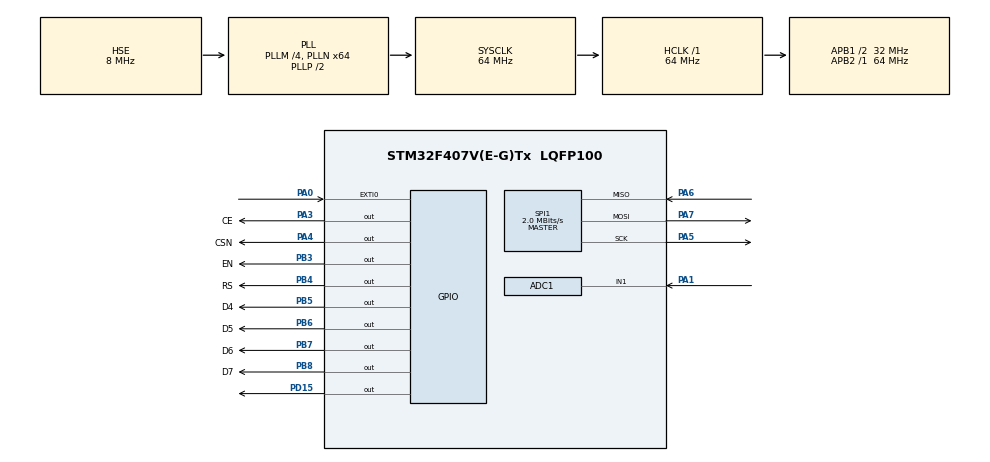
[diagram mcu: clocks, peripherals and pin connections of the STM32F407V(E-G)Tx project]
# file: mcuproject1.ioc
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ADC1.Channel-0\#ChannelRegularConversion=ADC_CHANNEL_1
ADC1.NbrOfConversionFlag=1
ADC1.Rank-0\#ChannelRegularConversion=1
ADC1.Resolution=ADC_RESOLUTION_8B
ADC1.SamplingTime-0\#ChannelRegularConversion=ADC_SAMPLETIME_3CYCLES
ADC1.master=1
Mcu.Family=STM32F4
Mcu.Name=STM32F407V(E-G)Tx
Mcu.Package=LQFP100
NVIC.PriorityGroup=NVIC_PRIORITYGROUP_4
PA0-WKUP.Signal=GPXTI0
PA1.Signal=ADCx_IN1
PA13.Mode=Serial_Wire
PA13.Signal=SYS_JTMS-SWDIO
PA14.Mode=Serial_Wire
PA14.Signal=SYS_JTCK-SWCLK
PA3.GPIO_Label=CE
PA3.Signal=GPIO_Output
PA4.GPIO_Label=CSN
PA4.Signal=GPIO_Output
PA5.Mode=Full_Duplex_Master
PA5.Signal=SPI1_SCK
PA6.Mode=Full_Duplex_Master
PA6.Signal=SPI1_MISO
PA7.Mode=Full_Duplex_Master
PA7.Signal=SPI1_MOSI
PB3.GPIO_Label=EN
PB3.Signal=GPIO_Output
PB4.GPIO_Label=RS
PB4.Signal=GPIO_Output
PB5.GPIO_Label=D4
PB5.Signal=GPIO_Output
PB6.GPIO_Label=D5
PB6.Signal=GPIO_Output
PB7.GPIO_Label=D6
PB7.Signal=GPIO_Output
PB8.GPIO_Label=D7
PB8.Signal=GPIO_Output
PD15.Signal=GPIO_Output
PH0-OSC_IN.Mode=HSE-External-Oscillator
PH0-OSC_IN.Signal=RCC_OSC_IN
PH1-OSC_OUT.Mode=HSE-External-Oscillator
PH1-OSC_OUT.Signal=RCC_OSC_OUT
ProjectManager.HeapSize=0x200
ProjectManager.StackSize=0x400
ProjectManager.TargetToolchain=STM32CubeIDE
RCC.48MHZClocksFreq_Value=32000000
RCC.AHBFreq_Value=64000000
RCC.APB1CLKDivider=RCC_HCLK_DIV2
RCC.APB1Freq_Value=32000000
RCC.APB1TimFreq_Value=64000000
RCC.APB2Freq_Value=64000000
RCC.APB2TimFreq_Value=64000000
RCC.CortexFreq_Value=64000000
RCC.HCLKFreq_Value=64000000
RCC.HSE_VALUE=8000000
RCC.HSI_VALUE=16000000
RCC.LSE_VALUE=32768
RCC.PLLM=4
RCC.PLLN=64
RCC.PLLSourceVirtual=RCC_PLLSOURCE_HSE
RCC.SYSCLKFreq_VALUE=64000000
RCC.SYSCLKSource=RCC_SYSCLKSOURCE_PLLCLK
RCC.VCOOutputFreq_Value=128000000
SH.ADCx_IN1.0=ADC1_IN1,IN1
SPI1.BaudRatePrescaler=SPI_BAUDRATEPRESCALER_32
SPI1.CalculateBaudRate=2.0 MBits/s
SPI1.Direction=SPI_DIRECTION_2LINES
SPI1.Mode=SPI_MODE_MASTER
SPI1.VirtualType=VM_MASTER
board=custom

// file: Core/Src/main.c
/* USER CODE BEGIN Header */
/**
  ******************************************************************************
  * @file           : main.c
  * @brief          : Main program body
  ******************************************************************************
  * @attention
  *
  * Copyright (c) 2023 STMicroelectronics.
  * All rights reserved.
  *
  * This software is licensed under terms that can be found in the LICENSE file
  * in the root directory of this software component.
  * If no LICENSE file comes with this software, it is provided AS-IS.
  *
  ******************************************************************************
  */
/* USER CODE END Header */
#include "main.h"
#include "adc.h"
#include "spi.h"
#include "gpio.h"

/* USER CODE BEGIN Includes */
#include <stdio.h>
#include "LCD16x2.h"
#include "LCD16x2_cfg.h"
#include "nrf24.h"
#include "nrf24_hal.h"
/* USER CODE END Includes */

void SystemClock_Config(void);

/* USER CODE BEGIN 0 */

uint8_t dum = 0, config, reg_status, reg_addr = 0;
char config_lcd[8];// char casting for config register
int ADC_raw_value = 0;
uint8_t ADDR[] = { 'n', 'R', 'F', '2', '4' }; // the TX address
uint8_t payload_length = 1;
/* USER CODE END 0 */

int main(void)
{

  /* MCU Configuration--------------------------------------------------------*/

  /* Reset of all peripherals, Initializes the Flash interface and the Systick. */
  HAL_Init();

  /* Configure the system clock */
  SystemClock_Config();

  /* Initialize all configured peripherals */
  MX_GPIO_Init();
  MX_SPI1_Init();
  MX_ADC1_Init();
  /* USER CODE BEGIN 2 */

  // LCD initialization
  LCD_Init();
  LCD_Clear();
  LCD_Set_Cursor(1, 1);
  LCD_Write_String(" ");

  //Part 1
  HAL_GPIO_WritePin(GPIOA, GPIO_PIN_3, 1);// CE = 1
  HAL_GPIO_WritePin(GPIOA, GPIO_PIN_4, 0);// CSN = 0
  HAL_SPI_Transmit(&hspi1, &reg_addr, 8, 100); // Config address = 00
  HAL_SPI_Receive(&hspi1, &reg_status, 8, 100);
  HAL_SPI_Transmit(&hspi1, &dum, 8, 100); // dummy value
  HAL_SPI_Receive(&hspi1, &config, 8, 100);
  sprintf(config_lcd, "%02X",config); // casting
  LCD_Set_Cursor(2, 1);
  LCD_Write_String(config_lcd);
  HAL_GPIO_WritePin(GPIOA, GPIO_PIN_3, 0);// CE = 0
  HAL_GPIO_WritePin(GPIOA, GPIO_PIN_4, 1);// CSN = 1

  //NRF24l01+ initialization
  nRF24_Init();
  HAL_GPIO_WritePin(GPIOA, GPIO_PIN_3, 1);// CE = 1
  HAL_GPIO_WritePin(GPIOA, GPIO_PIN_4, 0);// CSN = 0

  nRF24_SetRFChannel(90); // set RF channel to 2490MHz
  nRF24_SetDataRate(nRF24_DR_2Mbps); // 2Mbit/s data rate
  nRF24_SetCRCScheme(nRF24_CRC_1byte); // 1-byte CRC scheme
  nRF24_SetAddrWidth(5); // address width is 5 bytes
  nRF24_SetAddr(nRF24_PIPETX, ADDR); // program TX address
  nRF24_SetAddr(nRF24_PIPE0, ADDR); // program pipe#0 RX address, must be same as TX (for ACK packets)
  nRF24_SetTXPower(nRF24_TXPWR_0dBm); // configure TX power
  nRF24_SetAutoRetr(nRF24_ARD_2500us, 10); // configure auto retransmit: 10 retransmissions with pause of 2500s in between
  nRF24_EnableAA(nRF24_PIPE0); // enable Auto-ACK for pipe#0 (for ACK packets)
  nRF24_SetOperationalMode(nRF24_MODE_TX); // switch transceiver to the TX mode
  nRF24_SetPowerMode(nRF24_PWR_UP); // wake-up transceiver (in case if it sleeping)
  // the nRF24 is ready for transmission, upload a payload, then pull CE pin to HIGH and it will transmit a packet...

  /* USER CODE END 2 */

  /* Infinite loop */
  while (1)
  {

    /* USER CODE BEGIN 3 */

	  //ADC
	  HAL_ADC_Start(&hadc1);
	  HAL_ADC_PollForConversion(&hadc1,1000);
	  ADC_raw_value = HAL_ADC_GetValue(&hadc1);

	  //Transmit
	  nRF24_WritePayload(ADC_raw_value, &payload_length);

  }
  /* USER CODE END 3 */
}

void SystemClock_Config(void)
{
  RCC_OscInitTypeDef RCC_OscInitStruct = {0};
  RCC_ClkInitTypeDef RCC_ClkInitStruct = {0};

  /** Configure the main internal regulator output voltage
  */
  __HAL_RCC_PWR_CLK_ENABLE();
  __HAL_PWR_VOLTAGESCALING_CONFIG(PWR_REGULATOR_VOLTAGE_SCALE1);

  /** Initializes the RCC Oscillators according to the specified parameters
  * in the RCC_OscInitTypeDef structure.
  */
  RCC_OscInitStruct.OscillatorType = RCC_OSCILLATORTYPE_HSE;
  RCC_OscInitStruct.HSEState = RCC_HSE_ON;
  RCC_OscInitStruct.PLL.PLLState = RCC_PLL_ON;
  RCC_OscInitStruct.PLL.PLLSource = RCC_PLLSOURCE_HSE;
  RCC_OscInitStruct.PLL.PLLM = 4;
  RCC_OscInitStruct.PLL.PLLN = 64;
  RCC_OscInitStruct.PLL.PLLP = RCC_PLLP_DIV2;
  RCC_OscInitStruct.PLL.PLLQ = 4;
  if (HAL_RCC_OscConfig(&RCC_OscInitStruct) != HAL_OK)
  {
    Error_Handler();
  }

  /** Initializes the CPU, AHB and APB buses clocks
  */
  RCC_ClkInitStruct.ClockType = RCC_CLOCKTYPE_HCLK|RCC_CLOCKTYPE_SYSCLK
                              |RCC_CLOCKTYPE_PCLK1|RCC_CLOCKTYPE_PCLK2;
  RCC_ClkInitStruct.SYSCLKSource = RCC_SYSCLKSOURCE_PLLCLK;
  RCC_ClkInitStruct.AHBCLKDivider = RCC_SYSCLK_DIV1;
  RCC_ClkInitStruct.APB1CLKDivider = RCC_HCLK_DIV2;
  RCC_ClkInitStruct.APB2CLKDivider = RCC_HCLK_DIV1;

  if (HAL_RCC_ClockConfig(&RCC_ClkInitStruct, FLASH_LATENCY_2) != HAL_OK)
  {
    Error_Handler();
  }
}

void Error_Handler(void)
{
  __disable_irq();
  while (1)
  {
  }
}
